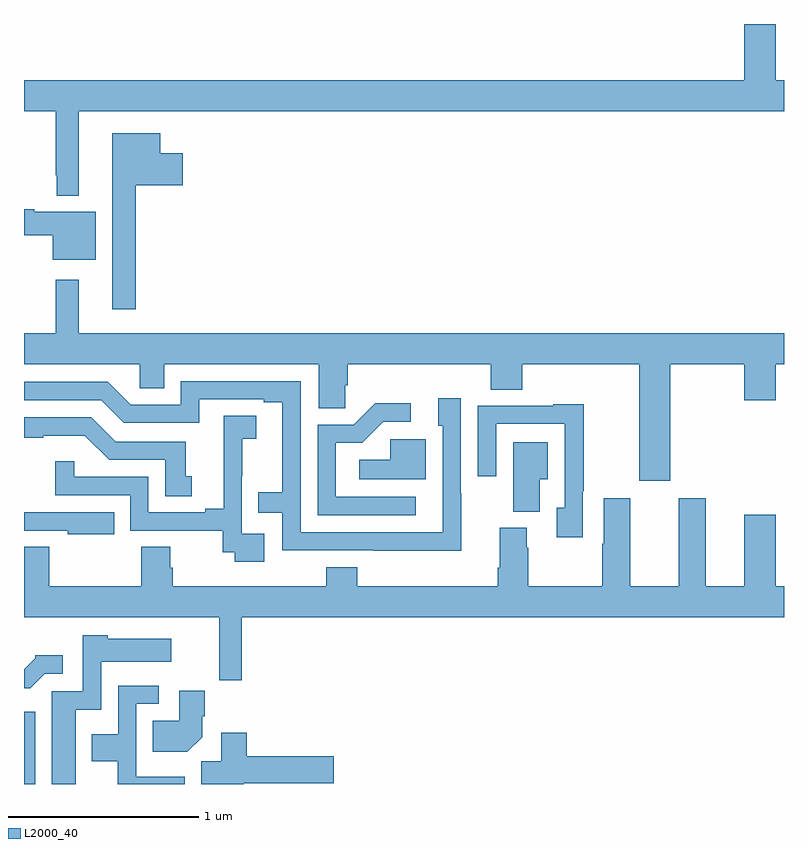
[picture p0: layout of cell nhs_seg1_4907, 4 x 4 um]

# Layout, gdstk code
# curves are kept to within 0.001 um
import gdstk
lib = gdstk.Library(unit=1e-6, precision=1e-09)
def R(c, l, rs):  # rectangles x0, y0, x1, y1
    for r in rs: c.add(gdstk.rectangle(r[:2], r[2:], *l))
def P(c, l, *ps):  # polygons
    for p in ps: c.add(gdstk.Polygon(p, *l))
L2000_40 = (2000, 40)

nhs_seg1_4907 = lib.new_cell('nhs_seg1_4907')
R(nhs_seg1_4907, L2000_40, [(377,540.199,377.059,540.58)])
P(nhs_seg1_4907, L2000_40, [(377.287,543.74),(381,543.74),(381,543.904),(380.956,543.904),(380.956,544.199),(380.792,544.199),(380.792,543.904),(377,543.904),(377,543.74),(377.166,543.74),(377.166,543.403),(377.172,543.403),(377.172,543.296),(377.287,543.296)],
  [(377.587,543.35),(377.836,543.35),(377.836,543.52),(377.716,543.52),(377.716,543.625),(377.465,543.625),(377.465,542.697),(377.587,542.697)],
  [(377.377,543.211),(377.054,543.211),(377.054,543.224),(377,543.224),(377,543.088),(377.15,543.088),(377.15,542.957),(377.377,542.957)],
  [(380.401,542.408),(380.792,542.408),(380.792,542.22),(380.956,542.22),(380.956,542.408),(381,542.408),(381,542.572),(377.287,542.572),(377.287,542.854),(377.166,542.854),(377.166,542.572),(377,542.572),(377,542.408),(377.61,542.408),(377.61,542.281),(377.737,542.281),(377.737,542.408),(378.551,542.408),(378.551,542.176),(378.69,542.176),(378.69,542.299),(378.704,542.299),(378.704,542.408),(379.457,542.408),(379.457,542.275),(379.622,542.275),(379.622,542.408),(380.237,542.408),(380.237,541.794),(380.401,541.794)],
  [(379.301,541.73),(379.299,541.73),(379.299,542.23),(379.181,542.23),(379.181,542.085),(379.203,542.085),(379.203,541.524),(378.456,541.524),(378.456,542.319),(377.826,542.319),(377.826,542.196),(377.562,542.196),(377.442,542.316),(377,542.316),(377,542.22),(377.406,542.22),(377.526,542.1),(377.922,542.1),(377.922,542.223),(378.263,542.223),(378.263,542.208),(378.359,542.208),(378.359,541.735),(378.232,541.735),(378.232,541.626),(378.36,541.626),(378.36,541.428),(379.301,541.427)],
  [(379.063,541.71),(378.642,541.71),(378.642,541.995),(378.78,541.995),(378.891,542.106),(379.036,542.106),(379.036,542.204),(378.848,542.204),(378.735,542.091),(378.546,542.091),(378.546,541.614),(379.063,541.614)],
  [(379.941,541.741),(379.946,541.741),(379.946,542.197),(379.785,542.197),(379.785,542.19),(379.389,542.19),(379.389,541.818),(379.485,541.818),(379.485,542.094),(379.845,542.094),(379.845,541.653),(379.805,541.653),(379.805,541.497),(379.941,541.497)],
  [(378.265,541.515),(378.147,541.515),(378.147,541.819),(378.149,541.819),(378.149,542.017),(378.223,542.017),(378.223,542.138),(378.052,542.138),(378.052,542.027),(378.05,542.027),(378.05,541.649),(377.954,541.649),(377.954,541.629),(377.655,541.629),(377.655,541.815),(377.265,541.815),(377.265,541.897),(377.164,541.897),(377.164,541.719),(377.559,541.719),(377.559,541.533),(378.046,541.533),(378.046,541.419),(378.109,541.419),(378.109,541.368),(378.265,541.368)],
  [(377.884,541.818),(377.851,541.818),(377.851,542.001),(377.484,542.001),(377.355,542.13),(377,542.13),(377,542.022),(377.102,542.022),(377.102,542.033),(377.32,542.033),(377.448,541.905),(377.744,541.905),(377.744,541.714),(377.884,541.714)],
  [(379.114,542.013),(378.927,542.013),(378.927,541.906),(378.765,541.906),(378.765,541.802),(379.114,541.802)],
  [(379.714,541.802),(379.756,541.802),(379.756,541.999),(379.574,541.999),(379.574,541.633),(379.714,541.633)],
  [(378.146,541.076),(381,541.076),(381,541.24),(380.956,541.24),(380.956,541.615),(380.792,541.615),(380.792,541.24),(380.587,541.24),(380.587,541.702),(380.447,541.702),(380.447,541.24),(380.191,541.24),(380.191,541.702),(380.051,541.702),(380.051,541.463),(380.044,541.463),(380.044,541.24),(379.653,541.24),(379.653,541.442),(379.645,541.442),(379.645,541.548),(379.505,541.548),(379.505,541.336),(379.493,541.336),(379.493,541.24),(378.755,541.24),(378.755,541.339),(378.59,541.339),(378.59,541.24),(377.783,541.24),(377.783,541.338),(377.77,541.338),(377.77,541.448),(377.618,541.448),(377.618,541.24),(377.132,541.24),(377.132,541.448),(377,541.448),(377,541.076),(378.028,541.076),(378.028,540.744),(378.146,540.744)],
  [(377.474,541.629),(377,541.629),(377,541.533),(377.231,541.533),(377.231,541.514),(377.474,541.514)],
  [(377.272,540.59),(377.406,540.59),(377.406,540.842),(377.776,540.842),(377.776,540.964),(377.442,540.964),(377.442,540.982),(377.31,540.982),(377.31,540.687),(377.147,540.687),(377.147,540.199),(377.272,540.199)],
  [(377.109,540.78),(377.203,540.78),(377.203,540.877),(377.058,540.877),(377.058,540.862),(377,540.804),(377,540.704),(377.033,540.704)],
  [(377.845,540.238),(377.592,540.238),(377.592,540.621),(377.71,540.621),(377.71,540.717),(377.496,540.717),(377.496,540.46),(377.357,540.46),(377.357,540.32),(377.494,540.32),(377.494,540.199),(377.845,540.199)],
  [(377.938,540.446),(377.938,540.556),(377.951,540.556),(377.951,540.691),(377.816,540.691),(377.816,540.532),(377.677,540.532),(377.677,540.368),(377.86,540.368)],
  [(378.156,540.202),(378.631,540.202),(378.631,540.344),(378.173,540.344),(378.173,540.469),(378.038,540.469),(378.038,540.32),(377.933,540.32),(377.933,540.199),(378.156,540.199)])

lib.write_gds('nhs_seg1_4907.gds')
